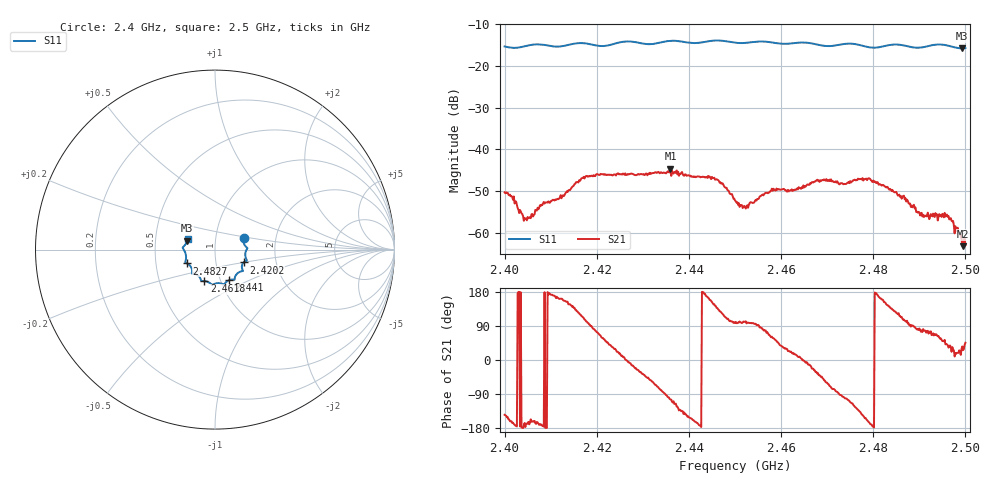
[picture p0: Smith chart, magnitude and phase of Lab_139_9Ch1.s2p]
# Hz S RI R 50
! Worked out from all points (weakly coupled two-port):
!   601 points, 2.4 GHz to 2.5 GHz, reference 50 ohm
!   highest |S21| = -44.59 dB at 2.436 GHz (marker M1); lowest = -63.2 dB at 2.4995 GHz (marker M2)
!   lowest |S11| = -15.8 dB at 2.4993 GHz (marker M3), VSWR 1.39, Z = 36.5 + j3.79 ohm
!   |S11| at or under -10 dB: start of sweep to end of sweep
!   S12 and S22 are empty: the file has one direction only
!   S11 on the Smith chart (normalised r, x): 2.4 GHz: 1.36, +0.18; 2.4202 GHz: 1.36, -0.20; 2.441 GHz: 1.10, -0.39; 2.4618 GHz: 0.84, -0.30; 2.4827 GHz: 0.72, -0.11; 2.5 GHz: 0.73, +0.09
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2.4e9  0.1588 0.0627  -0.00249 -0.00177  0 0  0 0
2.4015e9  0.1587 0.0453  -0.00261 -0.000863  0 0  0 0
2.404667e9  0.1725 0.0158  -0.00145 -0.000318  0 0  0 0
2.416667e9  0.1774 -0.0608  -0.00199 0.00403  0 0  0 0
2.420167e9  0.1591 -0.0716  0.00151 0.00481  0 0  0 0
2.433333e9  0.1118 -0.1507  0.00168 -0.00511  0 0  0 0
2.436e9  0.1092 -0.167  -0.00143 -0.00572  0 0  0 0
2.441e9  0.0788 -0.1701  -0.00442 -0.0017  0 0  0 0
2.446e9  0.0497 -0.1951  -0.00325 0.00296  0 0  0 0
2.45e9  0.0287 -0.1874  -0.000328 0.00242  0 0  0 0
2.452333e9  0.00525 -0.1886  -0.000411 0.00191  0 0  0 0
2.458e9  -0.0252 -0.189  0.00161 0.00297  0 0  0 0
2.461833e9  -0.059 -0.1754  0.00293 0.00127  0 0  0 0
2.466667e9  -0.0789 -0.1683  0.00374 -0.00153  0 0  0 0
2.478833e9  -0.1292 -0.1074  -0.00422 -0.00143  0 0  0 0
2.482667e9  -0.1558 -0.0771  -0.00309 0.00175  0 0  0 0
2.483333e9  -0.1601 -0.0751  -0.00265 0.00209  0 0  0 0
2.490667e9  -0.166 -0.0161  0.000438 0.00151  0 0  0 0
2.496e9  -0.1748 0.0169  0.00125 0.00109  0 0  0 0
2.499333e9  -0.1542 0.0506  0.00057 0.00041  0 0  0 0
2.4995e9  -0.1535 0.053  0.000622 0.000304  0 0  0 0
2.5e9  -0.152 0.0603  0.0005 0.00051  0 0  0 0
